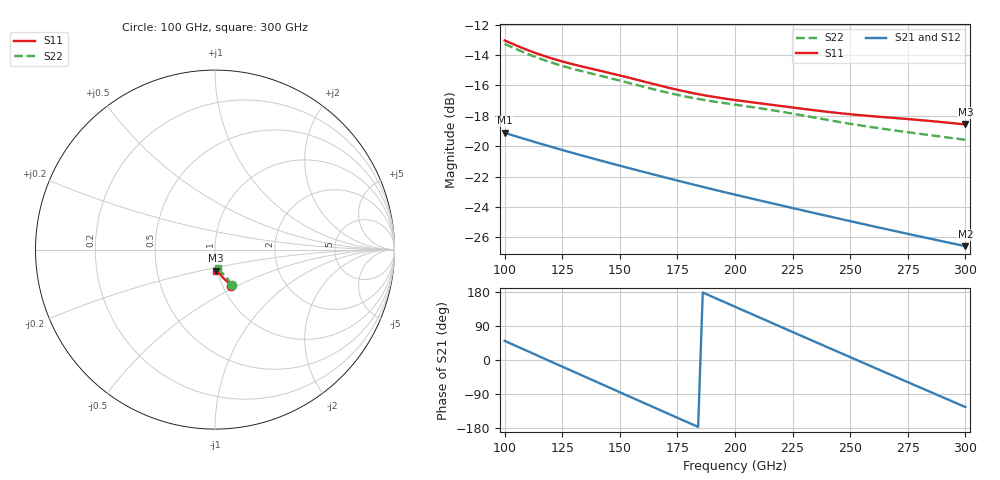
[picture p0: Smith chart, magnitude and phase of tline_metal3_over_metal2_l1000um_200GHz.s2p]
#  GHZ S DB R 50
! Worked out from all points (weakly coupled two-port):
!   101 points, 100 GHz to 300 GHz, reference 50 ohm
!   highest |S21| = -19.12 dB at 100 GHz (marker M1); lowest = -26.6 dB at 300 GHz (marker M2)
!   lowest |S11| = -18.6 dB at 300 GHz (marker M3), VSWR 1.27, Z = 49.3 - j11.8 ohm
!   |S11| at or under -10 dB: start of sweep to end of sweep
!   |S22| runs from -19.6 to -13.3 dB; largest |S21 - S12| = 1.1e-13
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100  -13.04 -65.9  -19.12 50.6  -19.12 50.6  -13.27 -63.9
108  -13.55 -67.2  -19.49 28.8  -19.49 28.8  -13.80 -65.0
116  -14.00 -68.2  -19.85 7.1  -19.85 7.1  -14.27 -65.7
124  -14.38 -69.0  -20.20 -14.7  -20.20 -14.7  -14.67 -66.2
134  -14.77 -70.2  -20.63 -41.8  -20.63 -41.8  -15.08 -67.1
142  -15.05 -71.3  -20.96 -63.4  -20.96 -63.4  -15.38 -67.9
150  -15.34 -72.5  -21.28 -85.1  -21.28 -85.1  -15.68 -68.9
158  -15.65 -73.7  -21.60 -106.7  -21.60 -106.7  -15.99 -69.8
168  -16.03 -74.9  -21.99 -133.6  -21.99 -133.6  -16.38 -70.7
176  -16.32 -75.6  -22.30 -155.1  -22.30 -155.1  -16.65 -71.2
184  -16.57 -76.2  -22.60 -176.6  -22.60 -176.6  -16.89 -71.7
192  -16.78 -76.7  -22.89 162.0  -22.89 162.0  -17.09 -72.2
200  -16.96 -77.2  -23.18 140.6  -23.18 140.6  -17.26 -72.9
208  -17.12 -77.9  -23.47 119.2  -23.47 119.2  -17.44 -73.7
216  -17.28 -78.7  -23.75 97.9  -23.75 97.9  -17.63 -74.7
224  -17.43 -79.4  -24.03 76.6  -24.03 76.6  -17.83 -75.7
234  -17.62 -80.3  -24.38 50.0  -24.38 50.0  -18.10 -76.7
250  -17.89 -81.7  -24.93 7.5  -24.93 7.5  -18.52 -78.1
258  -18.00 -82.3  -25.20 -13.6  -25.20 -13.6  -18.71 -78.6
268  -18.13 -83.2  -25.53 -40.0  -25.53 -40.0  -18.93 -79.2
284  -18.33 -84.9  -26.06 -82.2  -26.06 -82.2  -19.26 -80.3
300  -18.57 -86.6  -26.57 -124.1  -26.57 -124.1  -19.57 -81.2
